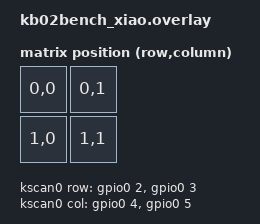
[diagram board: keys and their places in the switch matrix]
/*
 * kb02bench_xiao — XIAO nRF52840 Plus ＋ SK8707-01 ＋ 2×2 仮マトリクス（単体・非 split）
 *
 * 用途：ベンチ検証 B/D（TP がカーソルを動かすか、ピン割当が正しいか）。USB でも BLE でも可。
 * ボード：seeeduino_xiao_ble
 */

#include <dt-bindings/zmk/matrix_transform.h>

/* ---------- 2×2 仮マトリクス ---------- */
/ {
    chosen {
        zmk,kscan = &kscan0;
        zmk,matrix-transform = &default_transform;
    };

    default_transform: keymap_transform_0 {
        compatible = "zmk,matrix-transform";
        columns = <2>;
        rows = <2>;
        map = <
            RC(0,0) RC(0,1)
            RC(1,0) RC(1,1)
        >;
    };

    kscan0: kscan0 {
        compatible = "zmk,kscan-gpio-matrix";
        wakeup-source;
        diode-direction = "col2row";   /* ダイオードのカソード（帯）を ROW 側に */

        row-gpios
            = <&gpio0 2 (GPIO_ACTIVE_HIGH | GPIO_PULL_DOWN)>   /* ROW0 = D0 P0.02 */
            , <&gpio0 3 (GPIO_ACTIVE_HIGH | GPIO_PULL_DOWN)>   /* ROW1 = D1 P0.03 */
            ;
        col-gpios
            = <&gpio0 4 GPIO_ACTIVE_HIGH>                      /* COL0 = D4 P0.04 */
            , <&gpio0 5 GPIO_ACTIVE_HIGH>                      /* COL1 = D5 P0.05 */
            ;
    };
};

/* ---------- PS/2 TrackPoint ピン設定（XIAO ベンチ：まず表ピンで） ---------- */

// UART ドライバを使う（コメントアウトすると GPIO ドライバ）
#define MOUSE_PS2_DRIVER_UART

// ベンチ 1 段目：表ピン D6/D7（低周波ピンだが機能確認には十分）
#define MOUSE_PS2_PIN_SCL          <&gpio1 11 GPIO_ACTIVE_HIGH>   /* CLK  = D6 P1.11 */
#define MOUSE_PS2_PIN_SDA          <&gpio1 12 GPIO_ACTIVE_HIGH>   /* DATA = D7 P1.12 */
#define MOUSE_PS2_PIN_SDA_PINCTRL  <NRF_PSEL(UART_RX, 1, 12)>     /* DATA と同じピン */

// ベンチ 2 段目（最終割当）：端面追加パッド D11/D12（高周波ピン）に細線を半田したらこちらへ
// #define MOUSE_PS2_PIN_SCL          <&gpio0 19 GPIO_ACTIVE_HIGH>   /* CLK  = D12 P0.19 */
// #define MOUSE_PS2_PIN_SDA          <&gpio0 15 GPIO_ACTIVE_HIGH>   /* DATA = D11 P0.15 */
// #define MOUSE_PS2_PIN_SDA_PINCTRL  <NRF_PSEL(UART_RX, 0, 15)>

// RST（SK8707-01 pin 4、Active-High）。RST を配線しないならこの行を消す
#define MOUSE_PS2_PIN_RST          <&gpio0 28 GPIO_ACTIVE_HIGH>   /* RST = D2 P0.28（最終は D13 P1.01） */

// UART が要求する「もう一方のピン」用に、基板に出ていない未使用ピンを充てる
// ※XIAO nRF52840 の回路図で P0.11 / P0.12 が未使用であることを要確認（Sense 版は P0.27=IMU SCL、P0.16=PDM DIN なので避けた）（LED: P0.26/P0.30/P0.06、
//   QSPI: P0.20/P0.21/P0.22/P0.23/P0.25/P0.17、電池: P0.31/P0.14/P0.13 は避ける）
#define MOUSE_PS2_PIN_UNEXPOSED_TX <NRF_PSEL(UART_TX, 0, 11)>
#define MOUSE_PS2_PIN_UNEXPOSED_RX <NRF_PSEL(UART_RX, 0, 12)>

// ボーレート：まず 14400。動かなければ 9600 → 19200
#define MOUSE_PS2_UART_BAUD_RATE   <14400>

#include "../kb02_common/tp_irq_priorities.dtsi"
#include "../kb02_common/tp_ps2.dtsi"
